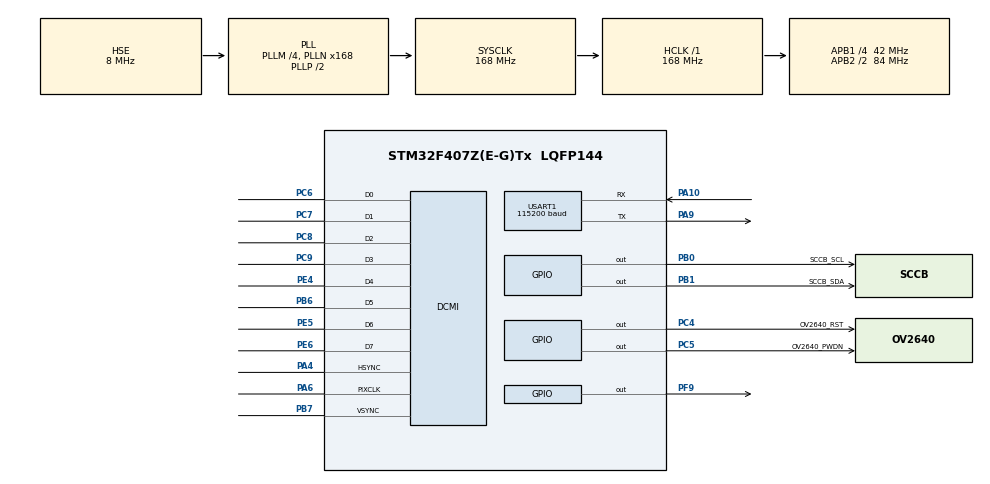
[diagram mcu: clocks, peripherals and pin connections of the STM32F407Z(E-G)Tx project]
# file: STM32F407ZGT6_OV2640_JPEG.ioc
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DCMI.CaptureRate=DCMI_CR_ALL_FRAME
DCMI.HSPolarity=DCMI_HSPOLARITY_LOW
DCMI.JPEGMode=DCMI_JPEG_ENABLE
DCMI.PCKPolarity=DCMI_PCKPOLARITY_RISING
DCMI.VSPolarity=DCMI_VSPOLARITY_LOW
Dma.DCMI.0.Direction=DMA_PERIPH_TO_MEMORY
Dma.DCMI.0.FIFOMode=DMA_FIFOMODE_ENABLE
Dma.DCMI.0.FIFOThreshold=DMA_FIFO_THRESHOLD_FULL
Dma.DCMI.0.Instance=DMA2_Stream1
Dma.DCMI.0.MemBurst=DMA_MBURST_SINGLE
Dma.DCMI.0.MemDataAlignment=DMA_MDATAALIGN_HALFWORD
Dma.DCMI.0.MemInc=DMA_MINC_ENABLE
Dma.DCMI.0.Mode=DMA_CIRCULAR
Dma.DCMI.0.PeriphBurst=DMA_PBURST_SINGLE
Dma.DCMI.0.PeriphDataAlignment=DMA_PDATAALIGN_WORD
Dma.DCMI.0.PeriphInc=DMA_PINC_DISABLE
Dma.DCMI.0.Priority=DMA_PRIORITY_LOW
Dma.Request0=DCMI
Mcu.Family=STM32F4
Mcu.Name=STM32F407Z(E-G)Tx
Mcu.Package=LQFP144
NVIC.DCMI_IRQn=true\:0\:0\:true\:false\:true\:true\:true\:true
NVIC.DMA2_Stream1_IRQn=true\:0\:0\:true\:false\:true\:false\:true\:true
NVIC.PriorityGroup=NVIC_PRIORITYGROUP_4
NVIC.TIM7_IRQn=true\:0\:0\:false\:false\:true\:true\:true\:true
NVIC.USART1_IRQn=true\:0\:0\:false\:false\:true\:true\:true\:true
PA10.Mode=Asynchronous
PA10.Signal=USART1_RX
PA13.Mode=Serial_Wire
PA13.Signal=SYS_JTMS-SWDIO
PA14.Mode=Serial_Wire
PA14.Signal=SYS_JTCK-SWCLK
PA4.Mode=Slave_8_bits_External_Synchro
PA4.Signal=DCMI_HSYNC
PA6.Mode=Slave_8_bits_External_Synchro
PA6.Signal=DCMI_PIXCLK
PA9.Mode=Asynchronous
PA9.Signal=USART1_TX
PB0.GPIO_Label=SCCB_SCL
PB0.PinState=GPIO_PIN_RESET
PB0.Signal=GPIO_Output
PB1.GPIO_Label=SCCB_SDA
PB1.GPIO_ModeDefaultOutputPP=GPIO_MODE_OUTPUT_OD
PB1.GPIO_PuPd=GPIO_NOPULL
PB1.PinState=GPIO_PIN_RESET
PB1.Signal=GPIO_Output
PB6.Mode=Slave_8_bits_External_Synchro
PB6.Signal=DCMI_D5
PB7.Mode=Slave_8_bits_External_Synchro
PB7.Signal=DCMI_VSYNC
PC4.GPIO_Label=OV2640_RST
PC4.PinState=GPIO_PIN_SET
PC4.Signal=GPIO_Output
PC5.GPIO_Label=OV2640_PWDN
PC5.Signal=GPIO_Output
PC6.Mode=Slave_8_bits_External_Synchro
PC6.Signal=DCMI_D0
PC7.Mode=Slave_8_bits_External_Synchro
PC7.Signal=DCMI_D1
PC8.Mode=Slave_8_bits_External_Synchro
PC8.Signal=DCMI_D2
PC9.Mode=Slave_8_bits_External_Synchro
PC9.Signal=DCMI_D3
PE4.Mode=Slave_8_bits_External_Synchro
PE4.Signal=DCMI_D4
PE5.Mode=Slave_8_bits_External_Synchro
PE5.Signal=DCMI_D6
PE6.Mode=Slave_8_bits_External_Synchro
PE6.Signal=DCMI_D7
PF9.Signal=GPIO_Output
PH0-OSC_IN.Mode=HSE-External-Oscillator
PH0-OSC_IN.Signal=RCC_OSC_IN
PH1-OSC_OUT.Mode=HSE-External-Oscillator
PH1-OSC_OUT.Signal=RCC_OSC_OUT
ProjectManager.HeapSize=0x200
ProjectManager.StackSize=0x400
ProjectManager.TargetToolchain=MDK-ARM V5.32
RCC.48MHZClocksFreq_Value=84000000
RCC.AHBFreq_Value=168000000
RCC.APB1CLKDivider=RCC_HCLK_DIV4
RCC.APB1Freq_Value=42000000
RCC.APB1TimFreq_Value=84000000
RCC.APB2CLKDivider=RCC_HCLK_DIV2
RCC.APB2Freq_Value=84000000
RCC.APB2TimFreq_Value=168000000
RCC.CortexFreq_Value=168000000
RCC.FLatency=FLASH_LATENCY_5
RCC.HCLKFreq_Value=168000000
RCC.HSE_VALUE=8000000
RCC.HSI_VALUE=16000000
RCC.LSE_VALUE=32768
RCC.PLLM=4
RCC.PLLN=168
RCC.PLLSourceVirtual=RCC_PLLSOURCE_HSE
RCC.SYSCLKFreq_VALUE=168000000
RCC.SYSCLKSource=RCC_SYSCLKSOURCE_PLLCLK
RCC.VCOOutputFreq_Value=336000000
TIM6.AutoReloadPreload=TIM_AUTORELOAD_PRELOAD_DISABLE
TIM6.CounterMode=TIM_COUNTERMODE_UP
TIM6.Period=65535
TIM6.Prescaler=83
TIM6.TIM_MasterOutputTrigger=TIM_TRGO_RESET
TIM7.AutoReloadPreload=TIM_AUTORELOAD_PRELOAD_ENABLE
TIM7.CounterMode=TIM_COUNTERMODE_UP
TIM7.Period=9999
TIM7.Prescaler=8399
TIM7.TIM_MasterOutputTrigger=TIM_TRGO_RESET
USART1.BaudRate=115200
USART1.Mode=MODE_TX_RX
USART1.OverSampling=UART_OVERSAMPLING_16
USART1.Parity=PARITY_NONE
USART1.StopBits=STOPBITS_1
USART1.VirtualMode=VM_ASYNC
USART1.WordLength=WORDLENGTH_8B
VP_TIM6_VS_ClockSourceINT.Mode=Enable_Timer
VP_TIM7_VS_ClockSourceINT.Mode=Enable_Timer
board=custom

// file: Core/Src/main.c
/* USER CODE BEGIN Header */
/**
  ******************************************************************************
  * @file           : main.c
  * @brief          : Main program body
  ******************************************************************************
  * @attention
  *
  * Copyright (c) 2023 STMicroelectronics.
  * All rights reserved.
  *
  * This software is licensed under terms that can be found in the LICENSE file
  * in the root directory of this software component.
  * If no LICENSE file comes with this software, it is provided AS-IS.
  *
  ******************************************************************************
  */
/* USER CODE END Header */
#include "main.h"
#include "dcmi.h"
#include "dma.h"
#include "tim.h"
#include "usart.h"
#include "gpio.h"

/* USER CODE BEGIN Includes */
#include "stdio.h"
#include "string.h"
#include "ov2640.h"
/* USER CODE END Includes */

/* USER CODE BEGIN PV */
#define JPEG_W  320
#define JPEG_H  240

// uint8_t  jpeg_data[10*1024];
// uint16_t  jpeg_buf[JPEG_W*JPEG_H/2];
union
{
  uint16_t jpeg_buf[JPEG_W*JPEG_H/2];
  uint8_t jpeg_data[10*1024];
}jpeg_data_buf;
uint32_t  jpeg_size = JPEG_W*JPEG_H/2;
uint8_t jpeg_ok = 0;
uint32_t jpeg_len = 0;
/* USER CODE END PV */

void SystemClock_Config(void);

/* USER CODE BEGIN 0 */
void delay_us(uint16_t us)
{
	uint16_t differ=0xffff-us-5;
	HAL_TIM_Base_Start(&htim6);
	__HAL_TIM_SetCounter(&htim6,differ);
	while(differ < 0xffff-5)
	{
		differ = __HAL_TIM_GetCounter(&htim6);
	}
	HAL_TIM_Base_Stop(&htim6);

}

int fputc(int ch,FILE *f)
{
  HAL_UART_Transmit(&huart1,(uint8_t *)(&ch),sizeof(ch),HAL_MAX_DELAY);
  return ch;
}

uint8_t frame = 0;
void HAL_TIM_PeriodElapsedCallback(TIM_HandleTypeDef *htim)
{
    if (htim == &htim7)
    {
        // printf("frame:%dfps\r\n", frame);
        frame = 0;
    }
}

void jpeg_data_process(void)
{
	if(jpeg_ok == 0)
	{
    HAL_DMA_Abort(hdcmi.DMA_Handle);
		jpeg_len=jpeg_size - __HAL_DMA_GET_COUNTER(hdcmi.DMA_Handle);
		jpeg_ok=1;
	}
	if(jpeg_ok==2)
	{
    HAL_DMA_Start(hdcmi.DMA_Handle,(uint32_t)&hdcmi.Instance->DR,(uint32_t)&jpeg_data_buf.jpeg_buf,jpeg_size);
		jpeg_ok=0;
	}
}

void HAL_DCMI_FrameEventCallback(DCMI_HandleTypeDef *hdcmi)
{
  frame++;
  HAL_GPIO_TogglePin(GPIOF,GPIO_PIN_9);
  __HAL_DCMI_CLEAR_FLAG(hdcmi,DCMI_FLAG_FRAMERI);
  jpeg_data_process();
  __HAL_DCMI_ENABLE_IT(hdcmi,DCMI_IT_FRAME);
}

void jpeg_display(void)
{
  uint8_t headok = 0;
  uint32_t jpegstart,jpeglen;
  HAL_DCMI_Start_DMA(&hdcmi,DCMI_MODE_CONTINUOUS,(uint32_t)&jpeg_data_buf.jpeg_buf,jpeg_size);
  if(jpeg_ok==1)
	{
    // for (int i = 0; i < jpeg_len*2; i++)
    // {
    //   jpeg_data[2*i] = jpeg_buf[i];
    //   jpeg_data[2*i+1] = jpeg_buf[i]>>8;
    // }
    for (int i = 0;i < jpeg_len*2;i++)
    {
      if ((jpeg_data_buf.jpeg_data[i] == 0XFF) && (jpeg_data_buf.jpeg_data[i + 1] == 0XD8))
      {
        jpegstart = i;
        headok = 1;
      }
      if ((jpeg_data_buf.jpeg_data[i] == 0XFF) && (jpeg_data_buf.jpeg_data[i + 1] == 0XD9) && headok)
      {
        jpeglen = i - jpegstart + 2;
        break;
      }
    }
    if (jpeglen)
    {
      for (int i = 0; i < jpeglen; i++)
      {
        USART1->DR = jpeg_data_buf.jpeg_data[i];
        while ((USART1->SR & 0X40) == 0);
      }
    }
    jpeg_ok=2;
	}
}
/* USER CODE END 0 */

int main(void)
{

  /* MCU Configuration--------------------------------------------------------*/

  /* Reset of all peripherals, Initializes the Flash interface and the Systick. */
  HAL_Init();

  /* Configure the system clock */
  SystemClock_Config();

  /* Initialize all configured peripherals */
  MX_GPIO_Init();
  MX_DMA_Init();
  MX_DCMI_Init();
  MX_TIM6_Init();
  MX_USART1_UART_Init();
  MX_TIM7_Init();
  /* USER CODE BEGIN 2 */
  __HAL_DCMI_ENABLE_IT(&hdcmi,DCMI_IT_FRAME);
  HAL_TIM_Base_Start_IT(&htim7);
  while(ov2640_init());
  HAL_Delay(100);
  ov2640_jpeg_mode();
  ov2640_outsize_set(JPEG_W,JPEG_H);
  /* USER CODE END 2 */

  /* Infinite loop */
  /* USER CODE BEGIN WHILE */
  while (1)
  {
    jpeg_display();
    /* USER CODE END WHILE */

  }
}

void SystemClock_Config(void)
{
  RCC_OscInitTypeDef RCC_OscInitStruct = {0};
  RCC_ClkInitTypeDef RCC_ClkInitStruct = {0};

  /** Configure the main internal regulator output voltage
  */
  __HAL_RCC_PWR_CLK_ENABLE();
  __HAL_PWR_VOLTAGESCALING_CONFIG(PWR_REGULATOR_VOLTAGE_SCALE1);

  /** Initializes the RCC Oscillators according to the specified parameters
  * in the RCC_OscInitTypeDef structure.
  */
  RCC_OscInitStruct.OscillatorType = RCC_OSCILLATORTYPE_HSE;
  RCC_OscInitStruct.HSEState = RCC_HSE_ON;
  RCC_OscInitStruct.PLL.PLLState = RCC_PLL_ON;
  RCC_OscInitStruct.PLL.PLLSource = RCC_PLLSOURCE_HSE;
  RCC_OscInitStruct.PLL.PLLM = 4;
  RCC_OscInitStruct.PLL.PLLN = 168;
  RCC_OscInitStruct.PLL.PLLP = RCC_PLLP_DIV2;
  RCC_OscInitStruct.PLL.PLLQ = 4;
  if (HAL_RCC_OscConfig(&RCC_OscInitStruct) != HAL_OK)
  {
    Error_Handler();
  }

  /** Initializes the CPU, AHB and APB buses clocks
  */
  RCC_ClkInitStruct.ClockType = RCC_CLOCKTYPE_HCLK|RCC_CLOCKTYPE_SYSCLK
                              |RCC_CLOCKTYPE_PCLK1|RCC_CLOCKTYPE_PCLK2;
  RCC_ClkInitStruct.SYSCLKSource = RCC_SYSCLKSOURCE_PLLCLK;
  RCC_ClkInitStruct.AHBCLKDivider = RCC_SYSCLK_DIV1;
  RCC_ClkInitStruct.APB1CLKDivider = RCC_HCLK_DIV4;
  RCC_ClkInitStruct.APB2CLKDivider = RCC_HCLK_DIV2;

  if (HAL_RCC_ClockConfig(&RCC_ClkInitStruct, FLASH_LATENCY_5) != HAL_OK)
  {
    Error_Handler();
  }
}

void Error_Handler(void)
{
  __disable_irq();
  while (1)
  {
  }
}
